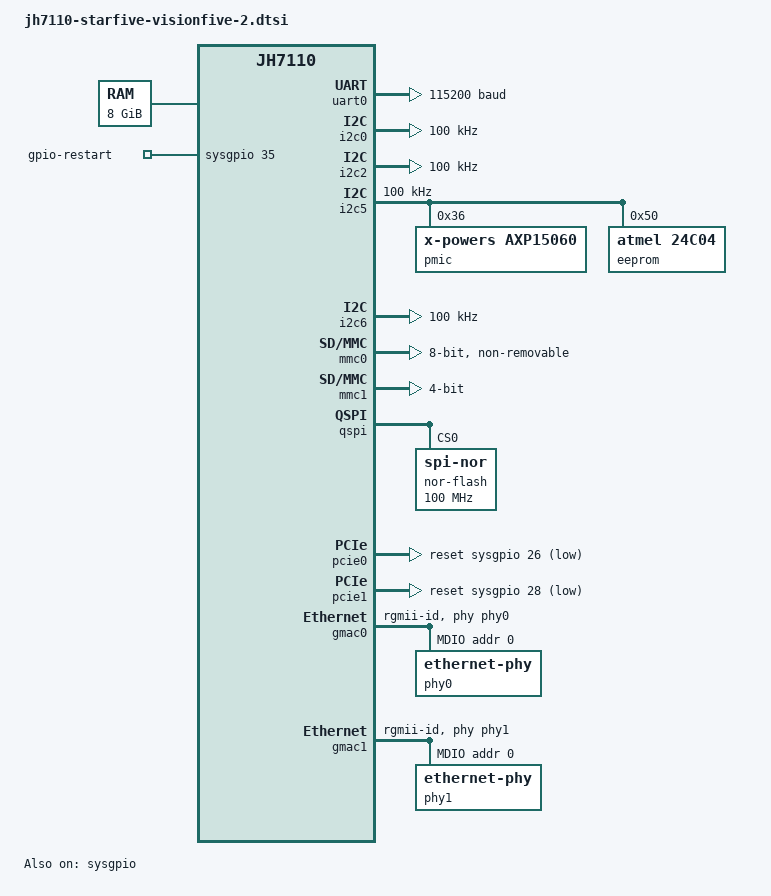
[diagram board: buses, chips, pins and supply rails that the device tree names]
// SPDX-License-Identifier: GPL-2.0 OR MIT
/*
 * Copyright (C) 2022 StarFive Technology Co., Ltd.
 */

/dts-v1/;

#include "jh7110.dtsi"
#include <dt-bindings/pinctrl/pinctrl-starfive-jh7110.h>
#include <dt-bindings/gpio/gpio.h>
/ {
	aliases {
		serial0 = &uart0;
		spi0 = &qspi;
		mmc0 = &mmc0;
		mmc1 = &mmc1;
		i2c0 = &i2c0;
		i2c2 = &i2c2;
		i2c5 = &i2c5;
		i2c6 = &i2c6;
		ethernet0 = &gmac0;
		ethernet1 = &gmac1;
	};

	chosen {
		stdout-path = "serial0:115200n8";
	};

	cpus {
		timebase-frequency = <4000000>;
	};

	memory@40000000 {
		device_type = "memory";
		reg = <0x0 0x40000000 0x2 0x0>;
	};

	gpio-restart {
		compatible = "gpio-restart";
		gpios = <&sysgpio 35 GPIO_ACTIVE_HIGH>;
	};
};

&osc {
	clock-frequency = <24000000>;
};

&rtc_osc {
	clock-frequency = <32768>;
};

&gmac0_rmii_refin {
	clock-frequency = <50000000>;
};

&gmac0_rgmii_rxin {
	clock-frequency = <125000000>;
};

&gmac1_rmii_refin {
	clock-frequency = <50000000>;
};

&gmac1_rgmii_rxin {
	clock-frequency = <125000000>;
};

&i2stx_bclk_ext {
	clock-frequency = <12288000>;
};

&i2stx_lrck_ext {
	clock-frequency = <192000>;
};

&i2srx_bclk_ext {
	clock-frequency = <12288000>;
};

&i2srx_lrck_ext {
	clock-frequency = <192000>;
};

&tdm_ext {
	clock-frequency = <49152000>;
};

&mclk_ext {
	clock-frequency = <12288000>;
};

&uart0 {
	reg-offset = <0>;
	current-speed = <115200>;
	clock-frequency = <24000000>;
	pinctrl-names = "default";
	pinctrl-0 = <&uart0_pins>;
	status = "okay";
};

&i2c0 {
	clock-frequency = <100000>;
	i2c-sda-hold-time-ns = <300>;
	i2c-sda-falling-time-ns = <510>;
	i2c-scl-falling-time-ns = <510>;
	pinctrl-names = "default";
	pinctrl-0 = <&i2c0_pins>;
	status = "okay";
};

&i2c2 {
	clock-frequency = <100000>;
	i2c-sda-hold-time-ns = <300>;
	i2c-sda-falling-time-ns = <510>;
	i2c-scl-falling-time-ns = <510>;
	pinctrl-names = "default";
	pinctrl-0 = <&i2c2_pins>;
	status = "okay";
};

&i2c5 {
	clock-frequency = <100000>;
	i2c-sda-hold-time-ns = <300>;
	i2c-sda-falling-time-ns = <510>;
	i2c-scl-falling-time-ns = <510>;
	pinctrl-names = "default";
	pinctrl-0 = <&i2c5_pins>;
	status = "okay";

	pmic@36 {
		compatible = "x-powers,axp15060";
		reg = <0x36>;
	};

	eeprom@50 {
		compatible = "atmel,24c04";
		reg = <0x50>;
		pagesize = <16>;
	};
};

&i2c6 {
	clock-frequency = <100000>;
	i2c-sda-hold-time-ns = <300>;
	i2c-sda-falling-time-ns = <510>;
	i2c-scl-falling-time-ns = <510>;
	pinctrl-names = "default";
	pinctrl-0 = <&i2c6_pins>;
	status = "okay";
};

&sysgpio {
	status = "okay";
	uart0_pins: uart0-0 {
		tx-pins {
			pinmux = <GPIOMUX(5, GPOUT_SYS_UART0_TX,
					     GPOEN_ENABLE,
					     GPI_NONE)>;
			bias-disable;
			drive-strength = <12>;
			input-disable;
			input-schmitt-disable;
			slew-rate = <0>;
		};

		rx-pins {
			pinmux = <GPIOMUX(6, GPOUT_LOW,
					     GPOEN_DISABLE,
					     GPI_SYS_UART0_RX)>;
			bias-disable; /* external pull-up */
			drive-strength = <2>;
			input-enable;
			input-schmitt-enable;
			slew-rate = <0>;
		};
	};

	i2c0_pins: i2c0-0 {
		i2c-pins {
			pinmux = <GPIOMUX(57, GPOUT_LOW,
					      GPOEN_SYS_I2C0_CLK,
					      GPI_SYS_I2C0_CLK)>,
				 <GPIOMUX(58, GPOUT_LOW,
					      GPOEN_SYS_I2C0_DATA,
					      GPI_SYS_I2C0_DATA)>;
			bias-disable; /* external pull-up */
			input-enable;
			input-schmitt-enable;
		};
	};

	i2c2_pins: i2c2-0 {
		i2c-pins {
			pinmux = <GPIOMUX(3, GPOUT_LOW,
					     GPOEN_SYS_I2C2_CLK,
					     GPI_SYS_I2C2_CLK)>,
				 <GPIOMUX(2, GPOUT_LOW,
					     GPOEN_SYS_I2C2_DATA,
					     GPI_SYS_I2C2_DATA)>;
			bias-disable; /* external pull-up */
			input-enable;
			input-schmitt-enable;
		};
	};

	i2c5_pins: i2c5-0 {
		i2c-pins {
			pinmux = <GPIOMUX(19, GPOUT_LOW,
					      GPOEN_SYS_I2C5_CLK,
					      GPI_SYS_I2C5_CLK)>,
				 <GPIOMUX(20, GPOUT_LOW,
					      GPOEN_SYS_I2C5_DATA,
					      GPI_SYS_I2C5_DATA)>;
			bias-disable; /* external pull-up */
			input-enable;
			input-schmitt-enable;
		};
	};

	i2c6_pins: i2c6-0 {
		i2c-pins {
			pinmux = <GPIOMUX(16, GPOUT_LOW,
					      GPOEN_SYS_I2C6_CLK,
					      GPI_SYS_I2C6_CLK)>,
				 <GPIOMUX(17, GPOUT_LOW,
					      GPOEN_SYS_I2C6_DATA,
					      GPI_SYS_I2C6_DATA)>;
			bias-disable; /* external pull-up */
			input-enable;
			input-schmitt-enable;
		};
	};

	mmc0_pins: mmc0-pins {
		 mmc0-pins-rest {
			pinmux = <GPIOMUX(62, GPOUT_SYS_SDIO0_RST,
					      GPOEN_ENABLE, GPI_NONE)>;
			bias-pull-up;
			drive-strength = <12>;
			input-disable;
			input-schmitt-disable;
			slew-rate = <0>;
		};
	};

	mmc1_pins: mmc1-pins {
		mmc1-pins0 {
			pinmux = <GPIOMUX(10, GPOUT_SYS_SDIO1_CLK,
					      GPOEN_ENABLE, GPI_NONE)>;
			bias-pull-up;
			drive-strength = <12>;
			input-disable;
			input-schmitt-disable;
			slew-rate = <0>;
		};

		mmc1-pins1 {
			pinmux = <GPIOMUX(9, GPOUT_SYS_SDIO1_CMD,
					     GPOEN_SYS_SDIO1_CMD, GPI_SYS_SDIO1_CMD)>,
				<GPIOMUX(11, GPOUT_SYS_SDIO1_DATA0,
					     GPOEN_SYS_SDIO1_DATA0, GPI_SYS_SDIO1_DATA0)>,
				<GPIOMUX(12, GPOUT_SYS_SDIO1_DATA1,
					     GPOEN_SYS_SDIO1_DATA1, GPI_SYS_SDIO1_DATA1)>,
				<GPIOMUX(7, GPOUT_SYS_SDIO1_DATA2,
					     GPOEN_SYS_SDIO1_DATA2, GPI_SYS_SDIO1_DATA2)>,
				<GPIOMUX(8, GPOUT_SYS_SDIO1_DATA3,
					     GPOEN_SYS_SDIO1_DATA3, GPI_SYS_SDIO1_DATA3)>;
			bias-pull-up;
			drive-strength = <12>;
			input-enable;
			input-schmitt-enable;
			slew-rate = <0>;
		};
	};
};

&mmc0 {
	compatible = "snps,dw-mshc";
	max-frequency = <100000000>;
	bus-width = <8>;
	pinctrl-names = "default";
	pinctrl-0 = <&mmc0_pins>;
	cap-mmc-highspeed;
	mmc-ddr-1_8v;
	mmc-hs200-1_8v;
	non-removable;
	cap-mmc-hw-reset;
	post-power-on-delay-ms = <200>;
	status = "okay";

};

&mmc1 {
	compatible = "snps,dw-mshc";
	max-frequency = <100000000>;
	bus-width = <4>;
	pinctrl-names = "default";
	pinctrl-0 = <&mmc1_pins>;
	no-sdio;
	no-mmc;
	broken-cd;
	cap-sd-highspeed;
	post-power-on-delay-ms = <200>;
	status = "okay";
};

&qspi {
	spi-max-frequency = <250000000>;
	status = "okay";

	nor-flash@0 {
		compatible = "jedec,spi-nor";
		reg=<0>;
		spi-max-frequency = <100000000>;
		cdns,tshsl-ns = <1>;
		cdns,tsd2d-ns = <1>;
		cdns,tchsh-ns = <1>;
		cdns,tslch-ns = <1>;
	};
};

&pcie0 {
	reset-gpios = <&sysgpio 26 GPIO_ACTIVE_LOW>;
	status = "okay";
};

&pcie1 {
	reset-gpios = <&sysgpio 28 GPIO_ACTIVE_LOW>;
	status = "okay";
};

&syscrg {
	assigned-clocks = <&syscrg JH7110_SYSCLK_CPU_ROOT>,
			  <&syscrg JH7110_SYSCLK_BUS_ROOT>,
			  <&syscrg JH7110_SYSCLK_PERH_ROOT>,
			  <&syscrg JH7110_SYSCLK_QSPI_REF>;
	assigned-clock-parents = <&pllclk JH7110_SYSCLK_PLL0_OUT>,
				 <&pllclk JH7110_SYSCLK_PLL2_OUT>,
				 <&pllclk JH7110_SYSCLK_PLL2_OUT>,
				 <&syscrg JH7110_SYSCLK_QSPI_REF_SRC>;
	assigned-clock-rates = <0>, <0>, <0>, <0>;
};

&aoncrg {
	assigned-clocks = <&aoncrg JH7110_AONCLK_APB_FUNC>;
	assigned-clock-parents = <&osc>;
	assigned-clock-rates = <0>;
};

&gmac0 {
	phy-handle = <&phy0>;
	phy-mode = "rgmii-id";
	status = "okay";

	mdio {
		#address-cells = <1>;
		#size-cells = <0>;
		compatible = "snps,dwmac-mdio";

		phy0: ethernet-phy@0 {
			reg = <0>;
		};
	};
};

&gmac1 {
	phy-handle = <&phy1>;
	phy-mode = "rgmii-id";
	status = "okay";

	mdio {
		#address-cells = <1>;
		#size-cells = <0>;
		compatible = "snps,dwmac-mdio";

		phy1: ethernet-phy@1 {
			reg = <0>;
		};
	};
};
